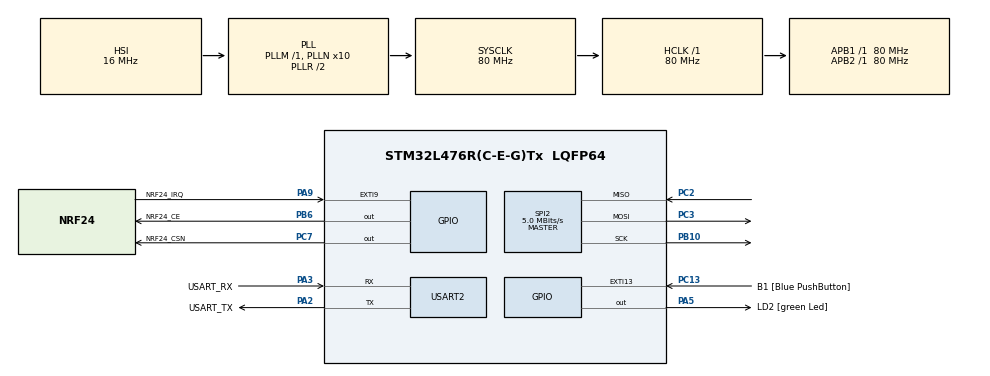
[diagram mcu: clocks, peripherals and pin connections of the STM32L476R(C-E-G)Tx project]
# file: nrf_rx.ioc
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Mcu.Family=STM32L4
Mcu.Name=STM32L476R(C-E-G)Tx
Mcu.Package=LQFP64
NVIC.PriorityGroup=NVIC_PRIORITYGROUP_4
PA13\ (JTMS-SWDIO).GPIO_Label=TMS
PA13\ (JTMS-SWDIO).Mode=Serial_Wire
PA13\ (JTMS-SWDIO).Signal=SYS_JTMS-SWDIO
PA14\ (JTCK-SWCLK).GPIO_Label=TCK
PA14\ (JTCK-SWCLK).Mode=Serial_Wire
PA14\ (JTCK-SWCLK).Signal=SYS_JTCK-SWCLK
PA2.GPIO_Label=USART_TX
PA2.GPIO_Mode=GPIO_MODE_AF_PP
PA2.GPIO_PuPd=GPIO_NOPULL
PA2.GPIO_Speed=GPIO_SPEED_FREQ_VERY_HIGH
PA2.Mode=Asynchronous
PA2.Signal=USART2_TX
PA3.GPIO_Label=USART_RX
PA3.GPIO_Mode=GPIO_MODE_AF_PP
PA3.GPIO_PuPd=GPIO_NOPULL
PA3.GPIO_Speed=GPIO_SPEED_FREQ_VERY_HIGH
PA3.Mode=Asynchronous
PA3.Signal=USART2_RX
PA5.GPIO_Label=LD2 [green Led]
PA5.GPIO_ModeDefaultOutputPP=GPIO_MODE_OUTPUT_PP
PA5.GPIO_PuPd=GPIO_NOPULL
PA5.GPIO_Speed=GPIO_SPEED_FREQ_LOW
PA5.Signal=GPIO_Output
PA9.GPIO_Label=NRF24_IRQ
PA9.Signal=GPXTI9
PB10.Mode=Full_Duplex_Master
PB10.Signal=SPI2_SCK
PB3\ (JTDO-TRACESWO).GPIO_Label=SWO
PB3\ (JTDO-TRACESWO).Signal=SYS_JTDO-SWO
PB6.GPIO_Label=NRF24_CE
PB6.Signal=GPIO_Output
PC13.GPIO_Label=B1 [Blue PushButton]
PC13.GPIO_ModeDefaultEXTI=GPIO_MODE_IT_FALLING
PC13.GPIO_PuPd=GPIO_NOPULL
PC13.Signal=GPXTI13
PC14-OSC32_IN\ (PC14).Mode=LSE-External-Oscillator
PC14-OSC32_IN\ (PC14).Signal=RCC_OSC32_IN
PC15-OSC32_OUT\ (PC15).Mode=LSE-External-Oscillator
PC15-OSC32_OUT\ (PC15).Signal=RCC_OSC32_OUT
PC2.Mode=Full_Duplex_Master
PC2.Signal=SPI2_MISO
PC3.Mode=Full_Duplex_Master
PC3.Signal=SPI2_MOSI
PC7.GPIO_Label=NRF24_CSN
PC7.Signal=GPIO_Output
PH0-OSC_IN\ (PH0).Signal=RCC_OSC_IN
PH1-OSC_OUT\ (PH1).Signal=RCC_OSC_OUT
ProjectManager.HeapSize=0x200
ProjectManager.StackSize=0x400
ProjectManager.TargetToolchain=STM32CubeIDE
RCC.ADCFreq_Value=64000000
RCC.AHBFreq_Value=80000000
RCC.APB1Freq_Value=80000000
RCC.APB1TimFreq_Value=80000000
RCC.APB2Freq_Value=80000000
RCC.APB2TimFreq_Value=80000000
RCC.CortexFreq_Value=80000000
RCC.HCLKFreq_Value=80000000
RCC.HSE_VALUE=8000000
RCC.HSI_VALUE=16000000
RCC.MSI_VALUE=4000000
RCC.PLLN=10
RCC.PLLSourceVirtual=RCC_PLLSOURCE_HSI
RCC.PREFETCH_ENABLE=1
RCC.SYSCLKFreq_VALUE=80000000
RCC.SYSCLKSource=RCC_SYSCLKSOURCE_PLLCLK
RCC.USBFreq_Value=64000000
RCC.VCOOutputFreq_Value=160000000
SPI2.BaudRatePrescaler=SPI_BAUDRATEPRESCALER_16
SPI2.CalculateBaudRate=5.0 MBits/s
SPI2.DataSize=SPI_DATASIZE_8BIT
SPI2.Direction=SPI_DIRECTION_2LINES
SPI2.Mode=SPI_MODE_MASTER
SPI2.VirtualType=VM_MASTER
USART2.VirtualMode-Asynchronous=VM_ASYNC
board=NUCLEO-L476RG

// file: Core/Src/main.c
/* USER CODE BEGIN Header */
/**
  ******************************************************************************
  * @file           : main.c
  * @brief          : Main program body
  ******************************************************************************
  * @attention
  *
  * Copyright (c) 2023 STMicroelectronics.
  * All rights reserved.
  *
  * This software is licensed under terms that can be found in the LICENSE file
  * in the root directory of this software component.
  * If no LICENSE file comes with this software, it is provided AS-IS.
  *
  ******************************************************************************
  */
/* USER CODE END Header */
#include "main.h"
#include "spi.h"
#include "usart.h"
#include "gpio.h"

/* USER CODE BEGIN Includes */
#include "stdio.h"
#include "nRF24_Defs.h"
#include "nRF24.h"

/* USER CODE END Includes */

/* USER CODE BEGIN PTD */
volatile uint8_t nrf24_rx_flag, nrf24_tx_flag, nrf24_mr_flag;
uint8_t Nrf24_Message[NRF24_PAYLOAD_SIZE];
uint8_t Message[32];
uint8_t MessageLength;
int __io_putchar(int ch){
  if (ch == '\n') {
    __io_putchar('\r');
  }
  HAL_UART_Transmit(&huart2, (uint8_t*)&ch, 1, HAL_MAX_DELAY);
  return 1;
}

/* USER CODE END PTD */

void SystemClock_Config(void);

int main(void)
{

  /* MCU Configuration--------------------------------------------------------*/

  /* Reset of all peripherals, Initializes the Flash interface and the Systick. */
  HAL_Init();

  /* Configure the system clock */
  SystemClock_Config();

  /* Initialize all configured peripherals */
  MX_GPIO_Init();
  MX_USART2_UART_Init();
  MX_SPI2_Init();
  /* USER CODE BEGIN 2 */
  nRF24_Init(&hspi2);
  nRF24_SetRXAddress(0, "Odb0");
  nRF24_SetTXAddress("Nad0");
  nRF24_RX_Mode();

  /* USER CODE END 2 */

  /* Infinite loop */
  while (1)
  {

    /* USER CODE BEGIN 3 */
	  if(nRF24_RXAvailible())
	  {
		  nRF24_ReadRXPaylaod(Nrf24_Message);
		  MessageLength = sprintf(Message, "%c\n\r", Nrf24_Message[0]);
		  HAL_UART_Transmit(&huart2, Message, MessageLength, 1000);

	  }

  }
  /* USER CODE END 3 */
}

void SystemClock_Config(void)
{
  RCC_OscInitTypeDef RCC_OscInitStruct = {0};
  RCC_ClkInitTypeDef RCC_ClkInitStruct = {0};

  /** Configure the main internal regulator output voltage
  */
  if (HAL_PWREx_ControlVoltageScaling(PWR_REGULATOR_VOLTAGE_SCALE1) != HAL_OK)
  {
    Error_Handler();
  }

  /** Initializes the RCC Oscillators according to the specified parameters
  * in the RCC_OscInitTypeDef structure.
  */
  RCC_OscInitStruct.OscillatorType = RCC_OSCILLATORTYPE_HSI;
  RCC_OscInitStruct.HSIState = RCC_HSI_ON;
  RCC_OscInitStruct.HSICalibrationValue = RCC_HSICALIBRATION_DEFAULT;
  RCC_OscInitStruct.PLL.PLLState = RCC_PLL_ON;
  RCC_OscInitStruct.PLL.PLLSource = RCC_PLLSOURCE_HSI;
  RCC_OscInitStruct.PLL.PLLM = 1;
  RCC_OscInitStruct.PLL.PLLN = 10;
  RCC_OscInitStruct.PLL.PLLP = RCC_PLLP_DIV7;
  RCC_OscInitStruct.PLL.PLLQ = RCC_PLLQ_DIV2;
  RCC_OscInitStruct.PLL.PLLR = RCC_PLLR_DIV2;
  if (HAL_RCC_OscConfig(&RCC_OscInitStruct) != HAL_OK)
  {
    Error_Handler();
  }

  /** Initializes the CPU, AHB and APB buses clocks
  */
  RCC_ClkInitStruct.ClockType = RCC_CLOCKTYPE_HCLK|RCC_CLOCKTYPE_SYSCLK
                              |RCC_CLOCKTYPE_PCLK1|RCC_CLOCKTYPE_PCLK2;
  RCC_ClkInitStruct.SYSCLKSource = RCC_SYSCLKSOURCE_PLLCLK;
  RCC_ClkInitStruct.AHBCLKDivider = RCC_SYSCLK_DIV1;
  RCC_ClkInitStruct.APB1CLKDivider = RCC_HCLK_DIV1;
  RCC_ClkInitStruct.APB2CLKDivider = RCC_HCLK_DIV1;

  if (HAL_RCC_ClockConfig(&RCC_ClkInitStruct, FLASH_LATENCY_4) != HAL_OK)
  {
    Error_Handler();
  }
}

void Error_Handler(void)
{
  __disable_irq();
  while (1)
  {
  }
}
